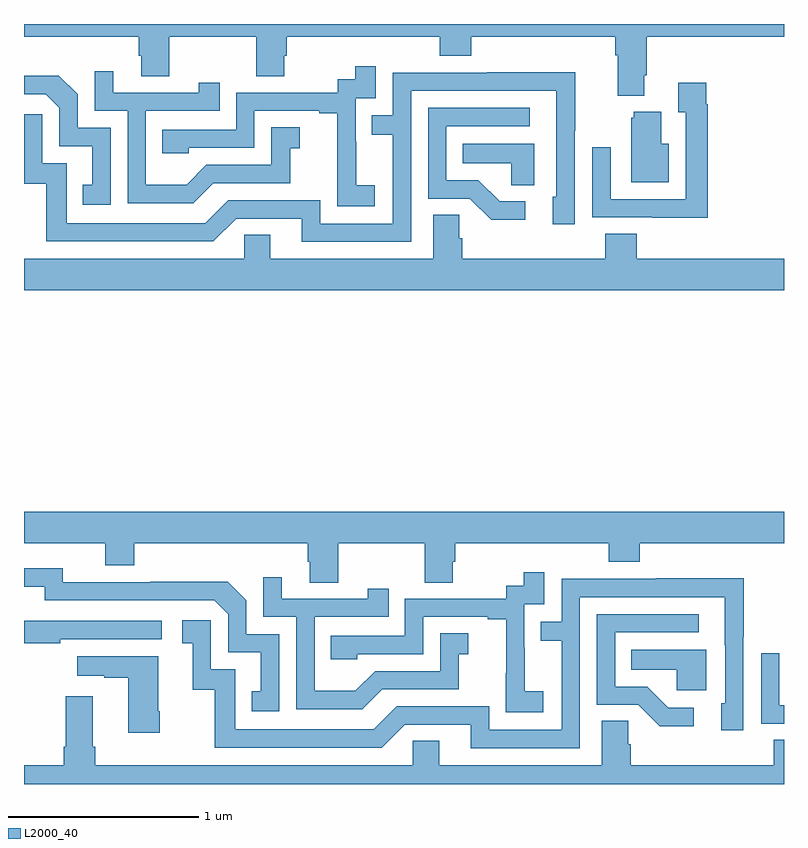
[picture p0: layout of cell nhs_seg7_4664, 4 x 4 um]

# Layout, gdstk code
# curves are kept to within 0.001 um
import gdstk
lib = gdstk.Library(unit=1e-6, precision=1e-09)
def P(c, l, *ps):  # polygons
    for p in ps: c.add(gdstk.Polygon(p, *l))
L2000_40 = (2000, 40)

nhs_seg7_4664 = lib.new_cell('nhs_seg7_4664')
P(nhs_seg7_4664, L2000_40, [(408.265,1017.73),(408.278,1017.73),(408.278,1017.932),(409,1017.932),(409,1018),(405,1018),(405,1017.932),(405.605,1017.932),(405.605,1017.834),(405.617,1017.834),(405.617,1017.724),(405.765,1017.724),(405.765,1017.932),(406.222,1017.932),(406.222,1017.724),(406.369,1017.724),(406.369,1017.834),(406.382,1017.834),(406.382,1017.932),(407.189,1017.932),(407.189,1017.833),(407.354,1017.833),(407.354,1017.932),(408.113,1017.932),(408.113,1017.836),(408.125,1017.836),(408.125,1017.623),(408.265,1017.623)],
  [(406.846,1017.151),(406.748,1017.151),(406.748,1017.38),(406.746,1017.38),(406.746,1017.609),(406.851,1017.609),(406.851,1017.778),(406.743,1017.778),(406.743,1017.708),(406.65,1017.708),(406.65,1017.639),(406.116,1017.639),(406.116,1017.444),(405.727,1017.444),(405.727,1017.321),(405.867,1017.321),(405.867,1017.348),(406.212,1017.348),(406.212,1017.543),(406.553,1017.543),(406.553,1017.531),(406.649,1017.531),(406.649,1017.247),(406.648,1017.247),(406.648,1017.041),(406.846,1017.041)],
  [(405.997,1017.162),(406.401,1017.162),(406.401,1017.347),(406.45,1017.347),(406.45,1017.457),(406.302,1017.457),(406.302,1017.258),(405.96,1017.258),(405.856,1017.154),(405.642,1017.154),(405.642,1017.543),(406.031,1017.543),(406.031,1017.691),(405.92,1017.691),(405.92,1017.639),(405.469,1017.639),(405.469,1017.751),(405.372,1017.751),(405.372,1017.543),(405.546,1017.543),(405.546,1017.057),(405.892,1017.057)],
  [(407.037,1017.648),(407.802,1017.648),(407.802,1017.09),(407.783,1017.09),(407.783,1016.946),(407.898,1016.946),(407.898,1017.439),(407.901,1017.439),(407.901,1017.746),(407.437,1017.746),(407.437,1017.744),(406.941,1017.744),(406.941,1017.519),(406.831,1017.519),(406.831,1017.418),(406.941,1017.418),(406.941,1016.949),(406.56,1016.949),(406.56,1017.072),(406.074,1017.072),(405.954,1016.952),(405.225,1016.952),(405.225,1017.267),(405.096,1017.267),(405.096,1017.526),(405,1017.526),(405,1017.159),(405.117,1017.159),(405.117,1016.856),(405.996,1016.856),(406.116,1016.976),(406.463,1016.976),(406.463,1016.853),(407.037,1016.853)],
  [(405.456,1017.453),(405.282,1017.453),(405.282,1017.63),(405.184,1017.728),(405,1017.728),(405,1017.63),(405.114,1017.63),(405.186,1017.558),(405.186,1017.357),(405.359,1017.357),(405.359,1017.153),(405.31,1017.153),(405.31,1017.048),(405.456,1017.048)],
  [(408.599,1017.578),(408.592,1017.578),(408.592,1017.691),(408.443,1017.691),(408.443,1017.535),(408.483,1017.535),(408.483,1017.078),(408.087,1017.078),(408.087,1017.352),(407.991,1017.352),(407.991,1016.982),(408.307,1016.982),(408.307,1016.981),(408.599,1016.981)],
  [(407.638,1017.066),(407.503,1017.066),(407.392,1017.177),(407.223,1017.177),(407.223,1017.462),(407.662,1017.462),(407.662,1017.558),(407.127,1017.558),(407.127,1017.081),(407.346,1017.081),(407.459,1016.969),(407.638,1016.969)],
  [(408.394,1017.37),(408.355,1017.37),(408.355,1017.538),(408.209,1017.538),(408.209,1017.507),(408.197,1017.507),(408.197,1017.167),(408.394,1017.167)],
  [(407.686,1017.37),(407.308,1017.37),(407.308,1017.266),(407.565,1017.266),(407.565,1017.151),(407.686,1017.151)],
  [(409,1016.764),(408.224,1016.764),(408.224,1016.897),(408.059,1016.897),(408.059,1016.764),(407.306,1016.764),(407.306,1016.873),(407.292,1016.873),(407.292,1016.996),(407.153,1016.996),(407.153,1016.764),(406.297,1016.764),(406.297,1016.891),(406.158,1016.891),(406.158,1016.764),(405,1016.764),(405,1016.6),(409,1016.6)],
  [(406.653,1015.268),(407.11,1015.268),(407.11,1015.06),(407.257,1015.06),(407.257,1015.17),(407.27,1015.17),(407.27,1015.268),(408.077,1015.268),(408.077,1015.169),(408.242,1015.169),(408.242,1015.268),(409,1015.268),(409,1015.432),(405,1015.432),(405,1015.268),(405.428,1015.268),(405.428,1015.151),(405.581,1015.151),(405.581,1015.268),(406.493,1015.268),(406.493,1015.17),(406.505,1015.17),(406.505,1015.06),(406.653,1015.06)],
  [(406.344,1014.789),(406.17,1014.789),(406.17,1014.966),(406.072,1015.064),(405.664,1015.064),(405.664,1015.062),(405.204,1015.062),(405.204,1015.135),(405,1015.135),(405,1015.038),(405.108,1015.038),(405.108,1014.966),(406.002,1014.966),(406.074,1014.894),(406.074,1014.693),(406.247,1014.693),(406.247,1014.489),(406.198,1014.489),(406.198,1014.384),(406.344,1014.384)],
  [(407.734,1014.487),(407.636,1014.487),(407.636,1014.716),(407.634,1014.716),(407.634,1014.945),(407.739,1014.945),(407.739,1015.114),(407.631,1015.114),(407.631,1015.044),(407.538,1015.044),(407.538,1014.975),(407.004,1014.975),(407.004,1014.78),(406.615,1014.78),(406.615,1014.657),(406.755,1014.657),(406.755,1014.684),(407.1,1014.684),(407.1,1014.879),(407.441,1014.879),(407.441,1014.867),(407.537,1014.867),(407.537,1014.583),(407.536,1014.583),(407.536,1014.377),(407.734,1014.377)],
  [(406.885,1014.498),(407.289,1014.498),(407.289,1014.683),(407.338,1014.683),(407.338,1014.793),(407.19,1014.793),(407.19,1014.594),(406.848,1014.594),(406.744,1014.49),(406.53,1014.49),(406.53,1014.879),(406.919,1014.879),(406.919,1015.027),(406.808,1015.027),(406.808,1014.975),(406.357,1014.975),(406.357,1015.087),(406.26,1015.087),(406.26,1014.879),(406.434,1014.879),(406.434,1014.393),(406.78,1014.393)],
  [(407.925,1014.984),(408.689,1014.984),(408.69,1014.426),(408.671,1014.426),(408.671,1014.282),(408.786,1014.282),(408.786,1014.775),(408.789,1014.775),(408.789,1015.082),(408.325,1015.082),(408.325,1015.08),(407.829,1015.08),(407.829,1014.855),(407.719,1014.855),(407.719,1014.754),(407.829,1014.754),(407.829,1014.285),(407.448,1014.285),(407.448,1014.408),(406.962,1014.408),(406.842,1014.288),(406.113,1014.288),(406.113,1014.603),(405.984,1014.603),(405.984,1014.862),(405.834,1014.862),(405.834,1014.741),(405.887,1014.741),(405.887,1014.495),(406.005,1014.495),(406.005,1014.192),(406.884,1014.192),(407.004,1014.312),(407.351,1014.312),(407.351,1014.189),(407.925,1014.189)],
  [(408.526,1014.402),(408.391,1014.402),(408.28,1014.513),(408.111,1014.513),(408.111,1014.798),(408.55,1014.798),(408.55,1014.894),(408.015,1014.894),(408.015,1014.417),(408.234,1014.417),(408.347,1014.305),(408.526,1014.305)],
  [(405.191,1014.762),(405.724,1014.762),(405.724,1014.858),(405,1014.858),(405,1014.742),(405.191,1014.742)],
  [(408.592,1014.706),(408.196,1014.706),(408.196,1014.602),(408.435,1014.602),(408.435,1014.494),(408.592,1014.494)],
  [(409,1014.414),(408.975,1014.414),(408.975,1014.688),(408.879,1014.688),(408.879,1014.318),(409,1014.318)],
  [(405.714,1014.382),(405.706,1014.382),(405.706,1014.673),(405.279,1014.673),(405.279,1014.569),(405.422,1014.569),(405.422,1014.559),(405.548,1014.559),(405.548,1014.27),(405.714,1014.27)],
  [(409,1014.233),(408.947,1014.233),(408.947,1014.1),(408.194,1014.1),(408.194,1014.209),(408.18,1014.209),(408.18,1014.332),(408.041,1014.332),(408.041,1014.1),(407.185,1014.1),(407.185,1014.227),(407.046,1014.227),(407.046,1014.1),(405.374,1014.1),(405.374,1014.196),(405.361,1014.196),(405.361,1014.463),(405.221,1014.463),(405.221,1014.196),(405.209,1014.196),(405.209,1014.1),(405,1014.1),(405,1014),(409,1014)])

lib.write_gds('nhs_seg7_4664.gds')
